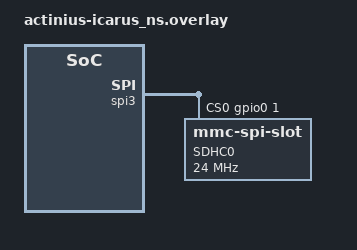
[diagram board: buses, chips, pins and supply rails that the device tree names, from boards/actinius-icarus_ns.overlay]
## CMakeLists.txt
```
#
# Copyright (c) 2019 Nordic Semiconductor
# Modified by R.Rietbroek (r.rietbroek@utwente.nl)
# SPDX-License-Identifier: LicenseRef-BSD-5-Clause-Nordic
#

cmake_minimum_required(VERSION 3.13.1)

set(ZEPHYR_EXTRA_MODULES ${CMAKE_CURRENT_SOURCE_DIR}/modules/lz4stream) 

set(DTC_OVERLAY_FILE ${CMAKE_CURRENT_SOURCE_DIR}/boards/actinius_icarus.overlay)

#uncomment the following to use the external sim
  #set(DTC_OVERLAY_FILE ${CMAKE_CURRENT_SOURCE_DIR}/boards/actinius_use_externalsim.overlay)

  #list(APPEND mcuboot_OVERLAY_CONFIG "${CMAKE_CURRENT_SOURCE_DIR}/mcuboot_overlay-rsa.conf")


find_package(Zephyr REQUIRED HINTS $ENV{ZEPHYR_BASE})
project(gnssr_logger)

zephyr_library_sources(src/main.c src/featherw_datalogger.c src/config.c src/led_buttons.c src/modem.c src/gnss.c)

zephyr_library_sources_ifdef(
  CONFIG_UPLOAD_CLIENT
  src/uploadclient.c
)

zephyr_library_sources_ifdef(
  CONFIG_SUPL_CLIENT_LIB
  src/supl_support.c
)
```

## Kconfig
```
#
# Copyright (c) 2026 Roelof Rietbroek
#
#

module = GNSSR
module-str = GNSS reflectometer

menu "GNSS-reflectometer"

config GNSS_MIN_ELEV
        int "Minimum elevation angle for GNSS satellites"
        range 0 90
        default 2
        help
          Cutoff elevation angle for GNSS satellites.

config UPLOAD_CLIENT
	bool "Enable file uploads"
        default y
        help
	  Allows uploading of data files to webdav folder
	select MODEM_KEY_MGMT 
        select AT_CMD_PARSER
        select NRF_MODEM_LIB
        select HTTP_CLIENT

config GNSSR_VERSION
	string "Set GNSS-R app version"
        default "V2.0"
        help
	  Sets app version to be printed when board info is requested

config GNSSR_CONTACT
	string "Set contact information"
        default "https://github.com/ITC-Water-Resources/actinius-gnssr"
        help
	  Sets the contact info to be printed when board info is requested

        


source "${NRF_BASE}/lib/supl/Kconfig" 

source "subsys/logging/Kconfig.template.log_config"

endmenu

menu "Zephyr Kernel"
source "Kconfig.zephyr"
endmenu
```

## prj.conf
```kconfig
#
# Copyright (c) 2019 Nordic Semiconductor ASA
#
# SPDX-License-Identifier: LicenseRef-BSD-5-Clause-Nordic
#

CONFIG_GNSSR_VERSION="V2.0"
CONFIG_GNSSR_CONTACT="ITC <r.rietbroek@utwente.nl>"

CONFIG_LOG=y

CONFIG_STDOUT_CONSOLE=y
CONFIG_UART_INTERRUPT_DRIVEN=n
CONFIG_NEWLIB_LIBC=y
CONFIG_NEWLIB_LIBC_FLOAT_PRINTF=y
#CONFIG_AT_CMD=y
#CONFIG_AT_NOTIF=y
CONFIG_BASE64=y

CONFIG_LTE_LINK_CONTROL=y
#system start up mode of the modem 
CONFIG_LTE_LC_FUNCTIONAL_MODE_MODULE=y
CONFIG_LTE_NETWORK_MODE_LTE_M_GPS=y
#alternative (use NBIOT instead of LTE)
#CONFIG_LTE_NETWORK_MODE_NBIOT_GPS=y


CONFIG_MODEM=y
CONFIG_MODEM_INFO=y
CONFIG_NRF_MODEM_LIB=y
CONFIG_MODEM_KEY_MGMT=y
#CONFIG_NRF_MODEM_LIB_LOG_LEVEL_DBG=y

# Networking
CONFIG_NETWORKING=y
CONFIG_NET_SOCKETS_OFFLOAD=y
CONFIG_NET_SOCKETS=y
CONFIG_NET_IPV4=y
CONFIG_NET_IPV6=y
CONFIG_POSIX_API=y
#CONFIG_NET_SOCKETS_SOCKOPT_TLS=y
# Disable native network stack to save some memory
CONFIG_NET_NATIVE=n



#CONFIG_NRF_SECURITY=y
#CONFIG_OBERON_BACKEND=y
#CONFIG_MBEDTLS_TLS_LIBRARY=y
#CONFIG_MBEDTLS_SSL_SESSION_TICKETS=y

CONFIG_NET_LOG=n

#CONFIG_NET_HTTP_LOG_LEVEL_DBG=y

#for debugging only
CONFIG_LOG_MODE_IMMEDIATE=n


# Main thread
CONFIG_HEAP_MEM_POOL_SIZE=16384 
#CONFIG_HEAP_MEM_POOL_SIZE=2048
CONFIG_MAIN_STACK_SIZE=4096

#SD CARD on the featherwing SETTINGS
CONFIG_GPIO=y
CONFIG_SPI=y
CONFIG_DISK_ACCESS=y
CONFIG_DISK_DRIVERS=y
CONFIG_FILE_SYSTEM=y
CONFIG_SDHC=y
CONFIG_FAT_FILESYSTEM_ELM=y
CONFIG_SPI_NRFX_RAM_BUFFER_SIZE=64
CONFIG_FS_FATFS_LFN=y

CONFIG_FS_LOG_LEVEL_DBG=n
CONFIG_DISK_LOG_LEVEL_DBG=n

#LZ4 STREAM COMPRESSION SETTINGS
CONFIG_LZ4STREAM=y

#use JSON library
CONFIG_CJSON_LIB=y

# Application (can also be selected through menuconfig)

CONFIG_BOOTLOADER_MCUBOOT=y
# SUPL client support
CONFIG_SUPL_CLIENT_LIB=n


#Enable/Disable data upload through LTE-M (cat-M1)
CONFIG_UPLOAD_CLIENT=y

#ADC for Battery voltage tracking
CONFIG_ADC=y
```

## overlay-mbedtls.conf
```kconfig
CONFIG_SAMPLE_TFM_MBEDTLS=y

#CONFIG_MODEM_KEY_MGMT=n
# TFM configuration
#CONFIG_BUILD_WITH_TFM=n
#CONFIG_TFM_MCUBOOT_IMAGE_NUMBER=1
# Currently IPC isn't supported with NCS mcuboot
#CONFIG_TFM_IPC=y

# MbedTLS and security
CONFIG_NET_SOCKETS_SOCKOPT_TLS=y
CONFIG_NET_SOCKETS_OFFLOAD_TLS=y
CONFIG_NET_NATIVE=n
CONFIG_MBEDTLS_TLS_LIBRARY=n
CONFIG_NORDIC_SECURITY_BACKEND=y
CONFIG_MBEDTLS_VANILLA_BACKEND=y
CONFIG_MBEDTLS=n

#CONFIG_OBERON_MBEDTLS_ECP_C=y
CONFIG_MBEDTLS_PEM_CERTIFICATE_FORMAT=y

CONFIG_MBEDTLS_KEY_EXCHANGE_ECDHE_RSA_ENABLED=y
CONFIG_MBEDTLS_ECP_DP_CURVE25519_ENABLED=y
CONFIG_MBEDTLS_ECP_DP_SECP256R1_ENABLED=y
CONFIG_MBEDTLS_ECP_DP_SECP224R1_ENABLED=y
CONFIG_MBEDTLS_CIPHER_GCM_ENABLED=y
CONFIG_MBEDTLS_SHA512_C=y

##CONFIG_MBEDTLS_ENABLE_HEAP=y
##CONFIG_MBEDTLS_SSL_MAX_CONTENT_LEN=4096
##CONFIG_MBEDTLS_HEAP_SIZE=32768
#CONFIG_MBEDTLS_TLS_LIBRARY=y
##CONFIG_MBEDTLS_X509_LIBRARY=y
###CONFIG_MBEDTLS_PSA_CRYPTO_C=y
##CONFIG_MBEDTLS_PKCS1_V15=y
##CONFIG_MBEDTLS_RSA_C=y
##CONFIG_MBEDTLS_SHA1_C=y
##CONFIG_MBEDTLS_SHA256_C=y
##CONFIG_MBEDTLS_SHA512_C=y
###CONFIG_MBEDTLS_LIBRARY_NRF_SECURITY=y
##CONFIG_NRF_SECURITY_ADVANCED=y

##CONFIG_MBEDTLS_AES_C=y



#CONFIG_OBERON_BACKEND=y
#CONFIG_MBEDTLS_VANILLA_BACKEND=y

##CONFIG_MBEDTLS_BUILTIN=y
##CONFIG_MBEDTLS_ENTROPY_ENABLED=y
##CONFIG_MBEDTLS_MAC_SHA256_ENABLED=y
##CONFIG_NRF_SECURITY_RNG=y
```

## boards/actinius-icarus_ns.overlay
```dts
/* 
* Set up sdhc0 element to work with a featherwing datalogger.
* Author R. Rietbroek 
*/

&spi3 {
        cs-gpios = <&gpio0 1 0>;

        sdhc0: sdhc@0 {
                compatible = "zephyr,mmc-spi-slot";
                reg = <0>;
                status = "okay";
                label = "SDHC0";
                spi-max-frequency = <24000000>;
        };
};
```

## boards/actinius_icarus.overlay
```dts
/* 
* Set up sdhc0 element to work with a featherwing datalogger.
* Author R. Rietbroek 
* Updated: Jun 2023
*/

&spi3 {
        status = "okay";
        cs-gpios = <&gpio0 1 GPIO_ACTIVE_LOW>;

        sdhc0: sdhc@0 {
                compatible = "zephyr,sdhc-spi-slot";
                reg = <0>;
                status = "okay";
                spi-max-frequency = <8000000>;
                mmc {
                        compatible = "zephyr,sdmmc-disk";
                        disk-name = "SD";
                        status = "okay";
                };
        };
};
```

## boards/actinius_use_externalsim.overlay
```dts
/* 
* Use external sim when connecting to LTE networks Author R. Rietbroek 
*see https://docs.actinius.com/icarus/datasheet#esim-and-external-sim
*/

&sim_select{
                sim = "external";
};
```

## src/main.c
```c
/*
 * Copyright (c) 2022 Roelof Rietbroek, with segments from Nordic Semiconductor zephyr sample codes
 *
 * SPDX-License-Identifier: LicenseRef-BSD-5-Clause-Nordic
 
 Roelof Rietbroek (r.rietbroek@utwente.nl)  
*/
#include <zephyr/kernel.h>
#include <nrf_modem_gnss.h>
#include <stdio.h>
#include "featherw_datalogger.h"
#include "lz4file.h"
#include "config.h"
#include "gnss.h"
#include "modem.h"
#include "led_buttons.h"

#ifdef CONFIG_UPLOAD_CLIENT
#include "uploadclient.h"
#endif 

#ifdef CONFIG_SUPL_CLIENT_LIB
#include "supl_support.h"
#endif

#include <zephyr/logging/log.h>
LOG_MODULE_REGISTER(GNSSR,CONFIG_GNSSR_LOG_LEVEL);

/*state variabless*/
static uint64_t                 log_timestamp;

/* Note: the actual message queue  and semaphore are defined in gnss.c */
extern struct k_msgq nmea_queue;
K_SEM_DEFINE(rollover_event_sem, 0, 1);



static struct k_poll_event events[2] = {
	K_POLL_EVENT_STATIC_INITIALIZER(K_POLL_TYPE_SEM_AVAILABLE,
					K_POLL_MODE_NOTIFY_ONLY,
					&rollover_event_sem, 0),
	K_POLL_EVENT_STATIC_INITIALIZER(K_POLL_TYPE_MSGQ_DATA_AVAILABLE,
					K_POLL_MODE_NOTIFY_ONLY,
					&nmea_queue, 0),
};

/* config with defaults  (instance defined in config.h)*/
extern struct config confdata;

extern char jsonbuf[JSONBUFLEN];

#ifdef CONFIG_UPLOAD_CLIENT
void sync_files(){
	if (confdata.upload == 1){
		int prev_ledstatus=get_led_status();
		set_led_status(LED_UPLOADING);
		LOG_INF("Syncing data files");
		char lz4file[50];
		char lz4fullfile[100];
		char lz4renamed[103];
		char datadir[50];
		struct fs_dir_t dirp;
		(void)get_sd_data_path(datadir,NULL);
		(void) lsdir_init(datadir, &dirp);	

		bool lte_active=false;
		
		while(lsdir_next(".lz4",&dirp,lz4file) == 0){
			if(!lte_active){
				stop_gnss();
				lte_connect();
				lte_active=true;
			}
			(void)get_sd_data_path(lz4fullfile,lz4file);
			printk("Uploading lz4file found %s\n",lz4fullfile);
			if(webdavUploadFile(lz4fullfile,&confdata) == UPLOADCLNT_SUCCESS){
				/*rename file */
				LOG_INF("Sucessfully uploaded file %s, renaming",lz4file);
				strcpy(lz4renamed,lz4fullfile);
				strcat(lz4renamed,"_ok");
				fs_rename(lz4fullfile,lz4renamed);
			}else{
				LOG_INF("cannot currently upload file %s, trying later",lz4file);
			}
		}



		(void) lsdir_close(&dirp);	


		if (lte_active){
			LOG_INF("Closing LTE link and restarting GNSS\n");
			lte_disconnect();
			k_sleep(K_MSEC(1000));
			start_gnss();
			k_sleep(K_MSEC(1000));
		}

		
		set_led_status(prev_ledstatus);
	}else{
		LOG_INF("Skipping sync due to disabled user options upload");
	}

}
#endif



/* open a new unused logging stream */
int rollover_lz4log(lz4streamfile * lz4fid){

	char filenamebase[55];
	char datestr[18];
	
	
	/* File potentially needs closing */
	if (lz4fid->isOpen){
		lz4close(lz4fid);
	}
	
	gnss_get_current_datetimestr(datestr);

	sprintf(filenamebase,"%s_%s.lz4",confdata.filebase,datestr);
			
	get_sd_data_path(lz4fid->filename, filenamebase);
	
	LOG_INF("Opening %s",lz4fid->filename);		
	
	if (lz4open(lz4fid->filename,lz4fid) != LZ4_SUCCESS){
	
		return -1;
	}
	///Write JSON header with the device status
	get_jsonstatus(jsonbuf,JSONBUFLEN);
	lz4write(lz4fid,jsonbuf);
	
	log_timestamp=k_uptime_get();

	return 0;

}





int main(void)
{

#ifdef CONFIG_ADC
	init_adc();
	LOG_INF("Initializing battery voltage monitoring\n");
#endif
	set_led_status(LED_SEARCHING);

	/* NOTE leds and button event are intialized in a separate thread */
	
	if(setup_modem() !=0){
		set_led_status(LED_ERROR);
		return -1;
	}

	print_boardinfo();
	
	LOG_INF("Mounting and initializing featherwing sdcard\n");

	if (mount_sdcard() != FEA_SUCCESS){
		set_led_status(LED_ERROR);
		return -1;
	}

	if (initialize_sdcard_files() != FEA_SUCCESS){
		set_led_status(LED_ERROR);
		return -1;
	}

	LOG_INF("Loading config data");
	/* read configuration */
	if (read_config(&confdata) != CONF_SUCCESS){
		set_led_status(LED_ERROR);
		return -1;
	}


	/*initialize device status*/
	init_device_status();

#ifdef CONFIG_UPLOAD_CLIENT
	/* register TLS certificate in the modem */
	if (confdata.webdav.usetls == 1){
		if (cert_provision(confdata.webdav.tlscert) != UPLOADCLNT_SUCCESS){
			set_led_status(LED_ERROR);
			return -1;
		}
	}
#else
	LOG_INF("App firmware does not support uploading through LTE-M, disabling\n");

#endif
	LOG_INF("Starting GNSS-R logger application\n");


	static struct lz4streamfile lz4fid ;
	init_lz4stream(&lz4fid,true);
		
	/* start and initialize gnss */

	if (init_gnss(confdata.agps) !=0){
		set_led_status(LED_ERROR);
		LOG_ERR("Cannot initialize GNSS");
		return -1;
	}
	if(start_gnss() != 0){
		set_led_status(LED_ERROR);
		LOG_ERR("Cannot start GNSS");
		return -1;
	}

	LOG_INF("Getting GNSS data...\n");
	set_led_status(LED_SEARCHING);

	struct nrf_modem_gnss_nmea_data_frame *nmea_data;
	
	/* start polling loop */
	for (;;) {
		/* wait for a nmea message, log_rollover event or pvt_fix */
		(void)k_poll(events, 2, K_FOREVER);
		
		
		
		/* Check for log rollover */
		if (events[0].state == K_POLL_STATE_SEM_AVAILABLE &&
		    k_sem_take(events[0].sem, K_NO_WAIT) == 0) {
			if(rollover_lz4log(&lz4fid) != 0){
				LOG_ERR("failed to roll over log file");
			}


#ifdef CONFIG_UPLOAD_CLIENT
			sync_files();
#endif 
			events[0].state = K_POLL_STATE_NOT_READY;
		}	
		
		
		/* Handle new NMEA data */
		if (events[1].state == K_POLL_STATE_MSGQ_DATA_AVAILABLE){
				/*only get nmea data and write it to file when the log is open and there is a position fix*/
				if(k_msgq_get(events[1].msgq, &nmea_data, K_NO_WAIT) == 0){
					if(lz4fid.isOpen && got_fix()){
						lz4write(&lz4fid,nmea_data->nmea_str);	
					}
					/*free the nmea_data to make room for a new message */
					k_free(nmea_data);
				}
			events[1].state = K_POLL_STATE_NOT_READY;

		}	

	}


	return 0;
}
```

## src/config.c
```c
/* Copyright 2023, Roelof Rietbroek (r.rietbroek@utwente.nl)
 * License: see license file
 * read and write configuration in json format
 */

#include <cJSON.h>
#include "config.h"
#include "featherw_datalogger.h"
#include "led_buttons.h"
#include <zephyr/fs/fs.h>
#include <string.h>
#include <zephyr/sys/base64.h>
#include <zephyr/logging/log.h>
LOG_MODULE_DECLARE(GNSSR,CONFIG_GNSSR_LOG_LEVEL);


#define AUTH_PREFIX "Authorization: Basic "

struct config confdata;
struct device_status dev_status;

static uint8_t hrprev=24; /*invalid hour so initial battery voltage measurement is always triggered*/

char jsonbuf[JSONBUFLEN];

void set_defaults(struct config * conf){
	strcpy(conf->filebase,"icarus_gnssr0");
	conf->upload=0;
	conf->agps=0;
	conf->psm_mode=0;
	conf->pvt_low=1;
#ifdef CONFIG_SUPL_CLIENT_LIB
	conf->agps=1;
#endif
#ifdef CONFIG_UPLOAD_CLIENT
	conf->upload=1;
	strcpy(conf->webdav.host,"httpbin.org");
	strcpy(conf->webdav.url,"/put");
	strcpy(conf->webdav.auth,"testuser:testpassword");

	conf->webdav.usetls=1;
	/* note below is the root certificate used by httpbin.org, change this for your own, and do include the line ends (you can also provide your own in the config.json file*/
	strcpy(conf->webdav.tlscert,"-----BEGIN CERTIFICATE-----$MIIDQTCCAimgAwIBAgITBmyfz5m/jAo54vB4ikPmljZbyjANBgkqhkiG9w0BAQsF$ADA5MQswCQYDVQQGEwJVUzEPMA0GA1UEChMGQW1hem9uMRkwFwYDVQQDExBBbWF6$b24gUm9vdCBDQSAxMB4XDTE1MDUyNjAwMDAwMFoXDTM4MDExNzAwMDAwMFowOTEL$MAkGA1UEBhMCVVMxDzANBgNVBAoTBkFtYXpvbjEZMBcGA1UEAxMQQW1hem9uIFJv$b3QgQ0EgMTCCASIwDQYJKoZIhvcNAQEBBQADggEPADCCAQoCggEBALJ4gHHKeNXj$ca9HgFB0fW7Y14h29Jlo91ghYPl0hAEvrAIthtOgQ3pOsqTQNroBvo3bSMgHFzZM$9O6II8c+6zf1tRn4SWiw3te5djgdYZ6k/oI2peVKVuRF4fn9tBb6dNqcmzU5L/qw$IFAGbHrQgLKm+a/sRxmPUDgH3KKHOVj4utWp+UhnMJbulHheb4mjUcAwhmahRWa6$VOujw5H5SNz/0egwLX0tdHA114gk957EWW67c4cX8jJGKLhD+rcdqsq08p8kDi1L$93FcXmn/6pUCyziKrlA4b9v7LWIbxcceVOF34GfID5yHI9Y/QCB/IIDEgEw+OyQm$jgSubJrIqg0CAwEAAaNCMEAwDwYDVR0TAQH/BAUwAwEB/zAOBgNVHQ8BAf8EBAMC$AYYwHQYDVR0OBBYEFIQYzIU07LwMlJQuCFmcx7IQTgoIMA0GCSqGSIb3DQEBCwUA$A4IBAQCY8jdaQZChGsV2USggNiMOruYou6r4lK5IpDB/G/wkjUu0yKGX9rbxenDI$U5PMCCjjmCXPI6T53iHTfIUJrU6adTrCC2qJeHZERxhlbI1Bjjt/msv0tadQ1wUs$N+gDS63pYaACbvXy8MWy7Vu33PqUXHeeE6V/Uq2V8viTO96LXFvKWlJbYK8U90vv$o/ufQJVtMVT8QtPHRh8jrdkPSHCa2XV4cdFyQzR1bldZwgJcJmApzyMZFo6IQ6XU$5MsI+yMRQ+hDKXJioaldXgjUkK642M4UwtBV8ob2xJNDd2ZhwLnoQdeXeGADbkpy$rqXRfboQnoZsG4q5WTP468SQvvG5$-----END CERTIFICATE-----$");
	


#endif

}

void replace_lineend(char * intls)
{
    char oldc='$';
    char newc='\n';
    int i = 0;

    /* Run till end of string */
    while(intls[i] != '\0')
    {
        if(intls[i] == oldc)
        {
            intls[i] = newc;
        }

        i++;
    }
}

int read_config(struct config *conf){
	char configfile[100];
	if(get_sd_config_path(configfile,"config_" CONFIG_GNSSR_VERSION ".json")!= FEA_SUCCESS){
		return CONF_ERR;
	}
	
	struct fs_file_t fid;
	fs_file_t_init(&fid);

	if (file_exists(configfile)){
		LOG_INF("Reading config from %s\n",configfile);
		/* read from file */
		if ( fs_open(&fid,configfile,FS_O_READ)!=0){
			LOG_ERR("cannot open configfile %s for reading",configfile);
			return CONF_ERR;

		}
		ssize_t buflen=fs_gets(jsonbuf,JSONBUFLEN,&fid);
		fs_close(&fid);
		/*int expected_return_code = (1 << ARRAY_SIZE(config_descr)) - 1;*/
			
		LOG_INF("buflen %d\n",buflen);

		/// Parse JSON string
		cJSON * monitor=cJSON_Parse(jsonbuf);


		if (monitor == NULL ){
			LOG_ERR("ERROR parsing JSON configuration");
			return CONF_ERR;
		}

		/// Fill config struct
		cJSON *upload= cJSON_GetObjectItemCaseSensitive(monitor, "upload");

		conf->upload=upload->valueint;
		
		cJSON *psm_mode= cJSON_GetObjectItemCaseSensitive(monitor, "psm_mode");

		conf->psm_mode=psm_mode->valueint;
		
		cJSON *pvt_low= cJSON_GetObjectItemCaseSensitive(monitor, "pvt_low");

		conf->pvt_low=pvt_low->valueint;
		
		cJSON *agps= cJSON_GetObjectItemCaseSensitive(monitor, "agps");

		conf->agps=agps->valueint;

		cJSON * filebase=cJSON_GetObjectItemCaseSensitive(monitor,"filebase");

		strcpy(conf->filebase,filebase->valuestring);
	

#ifdef CONFIG_UPLOAD_CLIENT
		/* get webdav items */
		cJSON * webdav=cJSON_GetObjectItemCaseSensitive(monitor,"webdav");
		
		cJSON * host=cJSON_GetObjectItemCaseSensitive(webdav,"host");
		strcpy(conf->webdav.host,host->valuestring);
		
		cJSON * url=cJSON_GetObjectItemCaseSensitive(webdav,"url");
		strcpy(conf->webdav.url,url->valuestring);
		

		cJSON * auth=cJSON_GetObjectItemCaseSensitive(webdav,"auth");
		size_t nwr=0;
		size_t prefixlen=strlen(AUTH_PREFIX);
		strcpy(conf->webdav.auth,AUTH_PREFIX);
		LOG_INF("%d %d %d %s\n",sizeof(conf->webdav.auth),prefixlen,strlen(auth->valuestring),auth->valuestring);
		(void)base64_encode(&conf->webdav.auth[0]+prefixlen,0,&nwr,auth->valuestring,strlen(auth->valuestring));
		LOG_INF("required base64 buffer size %d\n",nwr);
		if(base64_encode(&conf->webdav.auth[0]+prefixlen,sizeof(conf->webdav.auth)-prefixlen,&nwr,auth->valuestring,strlen(auth->valuestring)) != 0){
			LOG_ERR("ERROR in  base64 encoding of authentication");
			return CONF_ERR;
		}
		/* add a carriage return and line end */
		memcpy(&conf->webdav.auth[0]+prefixlen+nwr,"\r\n\0",3);
		/*strncat(conf->webdav.auth+nwr,"\r\n",2);*/
		printk(conf->webdav.auth);
		LOG_INF("base64 encoded Authentication header:\n%d %s\n",nwr,conf->webdav.auth);

		cJSON *usetls= cJSON_GetObjectItemCaseSensitive(webdav, "usetls");

		if (IS_ENABLED(CONFIG_NET_SOCKETS_SOCKOPT_TLS)) {
			conf->webdav.usetls=usetls->valueint;
		}else{
			/* Always force to zero if firmware does not support TLS */
			if (usetls->valueint == 1){
				LOG_WRN("DISABLING TLS as firmware does not support it");
			}
			conf->webdav.usetls=0;
		}
		
		if ( conf->webdav.usetls == 1){
			cJSON * tlscert=cJSON_GetObjectItemCaseSensitive(webdav,"tlscert");

			if (tlscert == NULL){
				LOG_ERR("ERROR TLS requested but no certificate is given");
				return CONF_ERR;
			}
			strcpy(conf->webdav.tlscert,tlscert->valuestring);
			//replace $ with line endings
			replace_lineend(conf->webdav.tlscert);
		}
#endif

		cJSON_Delete(monitor);

	}else{
		/* write defaults to file */
		LOG_INF("Writing defaults to configfile %s",configfile);
		set_defaults(conf);		
		
		cJSON * monitor = cJSON_CreateObject();
		cJSON_AddNumberToObject(monitor,"upload",conf->upload);
		cJSON_AddNumberToObject(monitor,"agps",conf->upload);
		cJSON_AddNumberToObject(monitor,"psm_mode",conf->psm_mode);
		cJSON_AddNumberToObject(monitor,"pvt_low",conf->pvt_low);
		cJSON_AddStringToObject(monitor,"filebase",conf->filebase);

#ifdef CONFIG_GNSSR_VERSION
		cJSON_AddStringToObject(monitor,"version",CONFIG_GNSSR_VERSION);
#endif

#ifdef CONFIG_GNSSR_CONTACT
		cJSON_AddStringToObject(monitor,"contact",CONFIG_GNSSR_CONTACT);
#endif

#ifdef CONFIG_UPLOAD_CLIENT
		/* add webdav items */
		cJSON * webdav= cJSON_CreateObject();

		cJSON_AddItemToObject(monitor, "webdav", webdav);
		
		cJSON_AddStringToObject(webdav,"host",conf->webdav.host);
		cJSON_AddStringToObject(webdav,"url",conf->webdav.url);
		cJSON_AddStringToObject(webdav,"auth",conf->webdav.auth);

		cJSON_AddNumberToObject(webdav,"usetls",conf->webdav.usetls);
		cJSON_AddStringToObject(webdav,"tlscert",conf->webdav.tlscert);
#endif
		/* print json to string */
		int retcode= cJSON_PrintPreallocated(monitor,jsonbuf,JSONBUFLEN,1);


		cJSON_Delete(monitor);
		if(retcode != 1){
			LOG_ERR("cannot encode in JSON");
			return CONF_ERR;
		}

		/* write to file */
		retcode= fs_open(&fid,configfile,FS_O_WRITE|FS_O_CREATE);
		if ( retcode != 0){
			LOG_ERR("cannot open configfile %s, err %d",configfile,retcode);
			return CONF_ERR;

		}
		
		fs_write(&fid,jsonbuf, strlen(jsonbuf));
		fs_close(&fid);
	}

	return CONF_SUCCESS;
}

int get_jsonstatus(char *jsonbuffer, int buflen){
		cJSON * monitor = cJSON_CreateObject();
		cJSON_AddStringToObject(monitor,"device_id",dev_status.device_id);
		cJSON_AddNumberToObject(monitor,"uptime",dev_status.uptime);
		cJSON_AddNumberToObject(monitor,"longitude",dev_status.longitude);
		cJSON_AddNumberToObject(monitor,"latitude",dev_status.latitude);
		cJSON_AddNumberToObject(monitor,"altitude",dev_status.altitude);
		cJSON * bat_array = cJSON_AddArrayToObject(monitor, "battery_mvolt");
		for (int i =0 ;i<24; i++){
			cJSON *batmvolt=cJSON_CreateNumber(dev_status.battery_mvolt[i]);
			cJSON_AddItemToArray(bat_array, batmvolt);
		}

		/*[> print json to string <]*/
		int retcode= cJSON_PrintPreallocated(monitor,jsonbuffer,buflen,1);


		cJSON_Delete(monitor);
		if(retcode != 1){
			LOG_ERR("cannot encode in JSON");
			return CONF_ERR;
		}
		//add a line end
		strcat(jsonbuffer,"\n");


		return CONF_SUCCESS;
}



int init_device_status(){
		LOG_INF("Initializing device status");
		strcpy(dev_status.device_id,confdata.filebase);
		dev_status.longitude=0.0;
		dev_status.altitude=0.0;
		dev_status.latitude=0.0;

		for(int i=0; i< 24;i++){
			dev_status.battery_mvolt[i]=9999;
		}

		return 0;

}

int update_device_status(const struct nrf_modem_gnss_pvt_data_frame *pvt) {
	///Only do this every hour 
	uint8_t hr=pvt->datetime.hour;
	if(hrprev != hr){
		LOG_INF("Updating device status");
		dev_status.longitude=pvt->longitude;
		dev_status.altitude=pvt->altitude;
		dev_status.latitude=pvt->latitude;
		dev_status.altitude=pvt->altitude;
		
#ifdef CONFIG_ADC
		get_battery_voltage(&dev_status.battery_mvolt[hr]);
		LOG_INF("Battery Voltage %d [mV]",dev_status.battery_mvolt[hr]);
#endif

		hrprev=hr;
	}
	
	///update status
	dev_status.uptime=k_uptime_get()/(MSEC_PER_SEC*3600.0);

	return 0;

}
```

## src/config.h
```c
#include <nrf_modem_gnss.h>



#define CONF_SUCCESS 0

#define CONF_ERR 1

#ifndef CONFIG_H
#define CONFIG_H

#define JSONBUFLEN 3000

#ifdef CONFIG_UPLOAD_CLIENT
struct webdav_config {
	char host[100];
	char url[100];
	char auth[120];
	int usetls;
	char tlscert[2200];

};

#endif

struct config {
	char filebase[20];
	int agps;
	int upload;
	int psm_mode;
	int pvt_low;
#ifdef CONFIG_UPLOAD_CLIENT
	struct webdav_config webdav;
#endif
};


int read_config(struct config *conf);

struct device_status {
	char device_id[20];
	float uptime;
	float longitude;
	float latitude;
	float altitude;
	uint16_t battery_mvolt[24];
};

int get_jsonstatus(char *jsonbuffer, int buflen);

int init_device_status();
int update_device_status(const struct nrf_modem_gnss_pvt_data_frame * pvt);



#endif
```

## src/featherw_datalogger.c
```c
/*
* Copyright (c) 2022 Roelof Rietbroek <r.rietbroek@utwente.nl>
*
* SPDX-License-Identifier: Apache-2.0
refactored and modified from the fat_fs zephyr example by Tavish Naruka <tavishnaruka@gmail.com>
*/

#include <zephyr/device.h>
#include <zephyr/storage/disk_access.h>
#include <zephyr/fs/fs_interface.h>
#include <string.h>
#include <ff.h>

#include "featherw_datalogger.h"
#include <zephyr/types.h>

#include <zephyr/logging/log.h>
LOG_MODULE_DECLARE(GNSSR,CONFIG_GNSSR_LOG_LEVEL);


static FATFS fat_fs;
/* mounting info */
static struct fs_mount_t mp = { 
	.type = FS_FATFS,
	.fs_data = &fat_fs,

};
static const char *disk_mount_pt = "/SD:";
static const char *sddata= "/SD:/data";
static const char *sdconfig= "/SD:/config";
static const char *sdarchive= "/SD:/archive";

/*
*  Note the fatfs library is able to mount only strings inside _VOLUME_STRS
*  in ffconf.h
*/

int mount_sdcard(void)
{
	/* raw disk i/o */
	static const char *disk_pdrv = "SD";
	uint64_t memory_size_mb;
	uint32_t block_count;
	uint32_t block_size;

	if (disk_access_init(disk_pdrv) != 0) {
		LOG_ERR("Storage init ERROR!");
		return FEA_ERR_INIT;
	}

	if (disk_access_ioctl(disk_pdrv,
			DISK_IOCTL_GET_SECTOR_COUNT, &block_count)) {
		LOG_ERR("Unable to get sector count");
		return FEA_ERR_SECCOUNT;
	}
	LOG_INF("Block count %u", block_count);

	if (disk_access_ioctl(disk_pdrv,
			DISK_IOCTL_GET_SECTOR_SIZE, &block_size)) {
		LOG_ERR("Unable to get sector size");
		return FEA_ERR_SECSIZE;
	}
	LOG_INF("Sector size %u\n", block_size);

	memory_size_mb = (uint64_t)block_count * block_size;
	LOG_INF("Memory Size(MB) %u\n", (uint32_t)(memory_size_mb >> 20));

	mp.mnt_point = disk_mount_pt;

	int res = fs_mount(&mp);

	if (res == FR_OK) {
		return FEA_SUCCESS;
	} else {
		LOG_ERR("Unable to mount SD card, error %d",res);
		return FEA_ERR_MOUNT;
	}

}

/*Retrieve a file path on a certain directory on the sdcard*/
int get_sd_path(char * outpath,const char * dir, const char * filename){
	strcpy(outpath,dir);
	if (filename != NULL){
		strcat(outpath,"/");
		strcat(outpath,filename);
	}
	return FEA_SUCCESS;
}

int get_sd_config_path(char * outpath, const char * filename){
	return get_sd_path(outpath,sdconfig, filename);
	
}

int get_sd_data_path(char * outpath, const char * filename){
	return get_sd_path(outpath,sddata, filename);
	
}

int get_sd_archive_path(char * outpath, const char * filename){
	return get_sd_path(outpath,sdarchive, filename);
	
}
/* initialize directories if they do not exist*/
int initialize_sdcard_files(void){
	char dir[100];
	
	/*initialize data directory */
	get_sd_data_path(dir,NULL);
	if (!file_exists(dir)){
		int stat=fs_mkdir(dir);	
		if (stat  != 0){
			return FEA_ERR_INIT;
		}
	}
		
	get_sd_archive_path(dir,NULL);
	if (!file_exists(dir)){
		int stat=fs_mkdir(dir);	
		if (stat  != 0){
			return FEA_ERR_INIT;
		}
	}
	
	/* also intialize config directory */
	get_sd_config_path(dir,NULL);
	if (!file_exists(dir)){
		int stat=fs_mkdir(dir);	
		if (stat  != 0){
			return FEA_ERR_INIT;
		}
	}
		
	return FEA_SUCCESS;

}



size_t file_size(const char * path){

	struct fs_dirent entry;
	if (fs_stat(path,&entry)== 0){
		return entry.size;;	
	}else{
		return 0;
	}

}

bool file_exists(const char * path){

	struct fs_dirent entry;
	if (fs_stat(path,&entry)== 0){
		return true;	
	}else{
		return false;
	}

}

/*Reads a new line from a file*/
ssize_t fs_gets(char * linebuffer,size_t bufsz,struct fs_file_t* fid){
	ssize_t nread=fs_read(fid,linebuffer,bufsz);
	if(nread < bufsz && nread >0){
		linebuffer[nread]='\0';
		return nread;
	}else if (nread == bufsz){
		/*Possibly more has been read than necessary: Find the line end*/
		char * lnend;
		if ((lnend=strchr(linebuffer,'\n')) == NULL){
			/*if((lnend=strchr(linebuffer,'\r')) == NULL){*/
				lnend=linebuffer+bufsz-1;
			/*}*/
		}
		ptrdiff_t slen=lnend-linebuffer+1;
		/*printk("slen %d\n",(int)slen);*/
		if (slen < bufsz){
			linebuffer[slen]='\0';
				off_t offs=bufsz-slen;
				/*LOG_INF("nread %d, seeking backwards with %d\n",(int)nread,(int)offs);*/
			if (fs_seek(fid,-offs,FS_SEEK_CUR) < 0){
				return -2;
			}
			return slen;
		}else{
			/*LOG_INF("returning full buffer\n");*/
			return bufsz;
		}
	}else{
		/*Errors and EOF's*/
		return -1;
	}
	
}


int lsdir_init(const char * dirpath, struct fs_dir_t * dirp){

	int res;
	/*fs_dir_t_init(dirp);*/

	/* Verify fs_opendir() */
	res = fs_opendir(dirp, dirpath);
	if (res) {
		LOG_ERR("Error opening dir %s [%d]\n", dirpath, res);
		return res;
	}
	return res;
}

int lsdir_close(struct fs_dir_t * dirp){
	return fs_closedir(dirp);
}

int lsdir_next(const char * endswith, struct fs_dir_t * dirp, char * path){

	static struct fs_dirent entry;
	int res;
	for (;;) {
		/* Verify fs_readdir() */
		res = fs_readdir(dirp, &entry);

		/*entry.name[0] == 0 means end-of-dir */
		if (res || entry.name[0] == 0) {
			break;
		}

		if (entry.type == FS_DIR_ENTRY_DIR) {
			LOG_DBG("[DIR ] %s\n", entry.name);
		} else {

			/* apply filter criteria to a file*/
			if (endswith != NULL){
				/* check filename with filter*/
				int ncmp=strlen(endswith);
				if(strcmp(entry.name+strlen(entry.name)-ncmp,endswith) != 0){
					/*no match keep going */
					continue;
				}
			} 
			
			/* construct output path filename*/
			strcpy(path,entry.name);
			return 0;/*success*/
		}
	}

	/* end of directory */
	return -1;

}
```

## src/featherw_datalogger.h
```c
/*
* Copyright (c) 2022 Roelof Rietbroek <r.rietbroek@utwente.nl>
*
* SPDX-License-Identifier: Apache-2.0
*/




#include <zephyr/fs/fs_interface.h>
#include <zephyr/fs/fs_interface.h>
#include <zephyr/fs/fs.h>
#include <sys/types.h>
#include <stdbool.h>

/* 
 * ERROR CODES
 */


#ifndef FEATHERW_H
#define FEATHERW_H

#define FEA_SUCCESS 0
#define FEA_ERR_INIT -1
#define FEA_ERR_SECCOUNT -2
#define FEA_ERR_SECSIZE -3
#define FEA_ERR_MOUNT -4


/*
 * Forward declare routines
 */


int mount_sdcard(void);
int initialize_sdcard_files(void);

int get_sd_data_path(char * outpath, const char * filename);
int get_sd_config_path(char * outpath, const char * filename);

ssize_t fs_gets(char * linebuffer,size_t bufsz,struct fs_file_t* fid);

bool file_exists(const char *path);

size_t file_size(const char *path);

int lsdir_init(const char* dirpath, struct fs_dir_t *dirp);
int lsdir_close(struct fs_dir_t * dirp);
int lsdir_next(const char * endswith, struct fs_dir_t *dirp, char* path);
#endif /* FEATHERW_H */
```

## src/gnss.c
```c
/*
* Copyright (c) 2023 Roelof Rietbroek <r.rietbroek@utwente.nl>
*
* SPDX-License-Identifier: Apache-2.0
* Refactored functions to work with GNSS parts of the modem
*/
#include <nrf_modem.h>
#include "led_buttons.h"
#include <zephyr/kernel.h>
#include "modem.h"
#include "config.h"
#include <nrf_modem_gnss.h>
#include <stdio.h>
#include <zephyr/logging/log.h>
#if defined(CONFIG_SUPL_CLIENT_LIB)
#include "supl_support.h"
#endif

LOG_MODULE_DECLARE(GNSSR,CONFIG_GNSSR_LOG_LEVEL);

static uint8_t cnt=0;
static const char update_indicator[] = {'\\', '|', '/', '-'};
static uint32_t gnss_fixed =0;
static struct nrf_modem_gnss_pvt_data_frame pvt_data;
static uint8_t last_day=0;
static uint64_t fix_timestamp;
static int agps=0;
#if defined(CONFIG_SUPL_CLIENT_LIB)
static struct nrf_modem_gnss_agps_data_frame last_agps;
#endif

extern struct config confdata;
extern struct k_sem rollover_event_sem;
K_MSGQ_DEFINE(nmea_queue, sizeof(struct nrf_modem_gnss_nmea_data_frame *), 10, 4);

uint32_t got_fix(void){
	return gnss_fixed;
}

void print_housekeeping_data(struct nrf_modem_gnss_pvt_data_frame *pvt_ptr)
{
	
	printk("---------housekeeping data-------\n");
	printf("Longitude:  %f\n", pvt_ptr->longitude);
	printf("Latitude:   %f\n", pvt_ptr->latitude);
	printf("Altitude:   %f\n", pvt_ptr->altitude);
	printf("Sigma Pos:  %f\n", pvt_ptr->accuracy);
	printf("Speed:      %f\n", pvt_ptr->speed);
	printf("Heading:    %f\n", pvt_ptr->heading);
	printk("Date:       %02u-%02u-%02u\n", pvt_ptr->datetime.day,
					       pvt_ptr->datetime.month,
					       pvt_ptr->datetime.year);
	printk("Time (UTC): %02u:%02u:%02u\n", pvt_ptr->datetime.hour,
					       pvt_ptr->datetime.minute,
					      pvt_ptr->datetime.seconds);
	printf("PDOP:           %.01f\n", pvt_ptr->pdop);
	printf("HDOP:           %.01f\n", pvt_ptr->hdop);
	printf("VDOP:           %.01f\n", pvt_ptr->vdop);
	printf("TDOP:           %.01f\n", pvt_ptr->tdop);
	printf("---------------------------------\n");
}

void print_searching(struct nrf_modem_gnss_pvt_data_frame *pvt_ptr)
{
	uint8_t  tracked          = 0;
	uint8_t  in_fix           = 0;
	uint8_t  unhealthy        = 0;

	for (int i = 0; i < NRF_MODEM_GNSS_MAX_SATELLITES; ++i) {

		if (pvt_ptr->sv[i].sv > 0)
		     {

			tracked++;

			if (pvt_ptr->sv[i].flags &
					NRF_MODEM_GNSS_SV_FLAG_USED_IN_FIX) {
				in_fix++;
			}

			if (pvt_ptr->sv[i].flags &
					NRF_MODEM_GNSS_SV_FLAG_UNHEALTHY) {
				unhealthy++;
			}
		}
	}

	printk("\033[1;1H");
	printk("\033[2J");
	printk("Tracking: %d Using: %d Unhealthy: %d\n", tracked,
							 in_fix,
							 unhealthy);
	printk("Seconds since last fix: %lld\n",
			       (k_uptime_get() - fix_timestamp) / 1000);
	if (pvt_ptr->flags & NRF_MODEM_GNSS_PVT_FLAG_DEADLINE_MISSED) {
		printk("GNSS notification deadline missed\n");
	}
	if (pvt_ptr->flags & NRF_MODEM_GNSS_PVT_FLAG_NOT_ENOUGH_WINDOW_TIME) {
		printk("GNSS operation blocked by insufficient time windows\n");
	}
	printk("Searching [%c]\n",update_indicator[(++cnt)%4]);
}

static void gnss_event_handler(int event)
{
	int retval;
	struct nrf_modem_gnss_nmea_data_frame *nmea_data;

	switch (event) {
	case NRF_MODEM_GNSS_EVT_PVT:
		retval = nrf_modem_gnss_read(&pvt_data, sizeof(pvt_data), NRF_MODEM_GNSS_DATA_PVT);
		/*check whether the PVT is from a fixed event*/

		if(pvt_data.flags & NRF_MODEM_GNSS_PVT_FLAG_FIX_VALID){
			gnss_fixed+=1;
			update_device_status(&pvt_data);
			set_led_status(LED_LOGGING);
		}else{
			gnss_fixed=0;
			set_led_status(LED_SEARCHING);
		}
		
		if (gnss_fixed == 1){
			/* print housekeeping data to screen upon obtaining a fix */
			fix_timestamp = k_uptime_get();
			print_housekeeping_data(&pvt_data);	
		}else if (gnss_fixed == 0){
			print_searching(&pvt_data);
		}
		
		/* check for day rollover */

		if(pvt_data.datetime.day != last_day){
			k_sem_give(&rollover_event_sem);

			last_day=pvt_data.datetime.day;
		}

		
		break;

	case NRF_MODEM_GNSS_EVT_NMEA:
		nmea_data = k_malloc(sizeof(struct nrf_modem_gnss_nmea_data_frame));
		if (nmea_data == NULL) {
			LOG_ERR("Failed to allocate memory for NMEA");
			break;
		}

		retval = nrf_modem_gnss_read(nmea_data,
					     sizeof(struct nrf_modem_gnss_nmea_data_frame),
					     NRF_MODEM_GNSS_DATA_NMEA);
		if (retval == 0) {
			retval = k_msgq_put(&nmea_queue, &nmea_data, K_NO_WAIT);
		}

		if (retval != 0) {
			k_free(nmea_data);
		}
		break;
#if defined(CONFIG_SUPL_CLIENT_LIB)
	case NRF_MODEM_GNSS_EVT_AGPS_REQ:
		if(agps == 0)
		{
			/*AGPS is not desired by the setting*/
			return;

		}
		if(nrf_modem_gnss_read(&last_agps,
					     sizeof(last_agps),
					     NRF_MODEM_GNSS_DATA_AGPS_REQ) != 0){
			LOG_ERR("Error retreiveing AGPS request data");
			return;
		}
		


		/* SUPL doesn't usually provide satellite real time integrity information. If GNSS asks
		 * only for satellite integrity, the request should be ignored.
		 */
		if (last_agps.sv_mask_ephe == 0 &&
		    last_agps.sv_mask_alm == 0 &&
		    last_agps.data_flags == NRF_MODEM_GNSS_AGPS_INTEGRITY_REQUEST) {
			LOG_INF("Ignoring assistance request for only satellite integrity");
			return;
		}
		
		if( lte_connect() == 0){
			if(assistance_request(&last_agps) != 0){
				LOG_ERR("Error in retrieving SUPL assisted GPS");
			}
					
			lte_disconnect();
		}else{
			LOG_ERR("SUPL failed since LTE network was not reachable");

		}

		break;
#endif /* CONFIG_SUPL_CLIENT_LIB */

	default:
		break;
	}
}

void gnss_get_current_datetimestr(char cptr[]){

	sprintf(cptr,"%04u-%02u-%02uT%02u%02u%02u",pvt_data.datetime.year,
			pvt_data.datetime.month,
			pvt_data.datetime.day,
			pvt_data.datetime.hour,
			pvt_data.datetime.minute,
			pvt_data.datetime.seconds);

}

/* init and start gnss*/
int init_gnss(int useagps)
{
	int retval;
	agps=useagps;
	if( enable_gnss_mode() != 0){

		LOG_ERR("Failed to activate GNSS mode");
		return -1;
	}
	
	/* Configure GNSS event handler */
	if (nrf_modem_gnss_event_handler_set(gnss_event_handler) != 0) {
		LOG_ERR("Failed to set GNSS event handler");
		return -1;
	}
	
	uint16_t fix_interval = 1;
	retval=nrf_modem_gnss_fix_interval_set(fix_interval);
	if (retval !=0)
	{
		LOG_ERR("cannot set GNSS fix interval");
		return retval;
	}

		
	uint16_t fix_retry    = 0;
	retval=nrf_modem_gnss_fix_retry_set(fix_retry);
	if (retval !=0)
	{
		LOG_ERR("cannot set GNSS fix retry");
		return retval;
	}



	uint16_t nmea_mask    = NRF_MODEM_GNSS_NMEA_GSV_MASK |
				NRF_MODEM_GNSS_NMEA_RMC_MASK ;

	
	retval=nrf_modem_gnss_nmea_mask_set(nmea_mask);
	if (retval !=0)
	{
		LOG_ERR("cannot set GNSS NMEA mask");
		return retval;
	}
	
	/* allow low elevation tracking */
	uint8_t gnss_lowelev = CONFIG_GNSS_MIN_ELEV;
	
	retval=nrf_modem_gnss_elevation_threshold_set(gnss_lowelev);
	if (retval !=0)
	{
		LOG_ERR("cannot set GNSS Low elevation");
		return retval;
	}

	/* This use case flag should always be set. */
	uint8_t use_case = NRF_MODEM_GNSS_USE_CASE_MULTIPLE_HOT_START;
	/*set GNSS use case */
	if (confdata.pvt_low == 1){
		use_case=NRF_MODEM_GNSS_USE_CASE_MULTIPLE_HOT_START | NRF_MODEM_GNSS_USE_CASE_LOW_ACCURACY;
		LOG_INF("Setting GNSS to low accuracy mode\n");
	}


	retval=nrf_modem_gnss_use_case_set(use_case); 
	
	if (retval !=0)
	{
		LOG_ERR("cannot set GNSS use case");
		return retval;
	}

	/*power mode setting*/

	uint8_t psm=NRF_MODEM_GNSS_PSM_DISABLED;
	switch(confdata.psm_mode){
		case 1:
			psm=NRF_MODEM_GNSS_PSM_DUTY_CYCLING_PERFORMANCE;
			LOG_INF("setting gnss power mode to *Performance*\n");
			break;
		case 2:
			/* most aggresive duty cycling*/
			psm=NRF_MODEM_GNSS_PSM_DUTY_CYCLING_POWER;
			LOG_INF("setting gnss power mode to *Power*\n");
			break;

	}
	retval=nrf_modem_gnss_power_mode_set(psm);

	if (retval !=0)
	{
		LOG_ERR("cannot set GNSS power more");
		return retval;
	}
#ifdef CONFIG_SUPL_CLIENT_LIB
	if( agps){
		LOG_INF("Initializing SUPL library\n");
		if( assistance_init() != 0){
			return -1;
		}
	}
#endif
	
	return 0;	

}

int32_t stop_gnss(void){
	int32_t retval=nrf_modem_gnss_stop();

	if (retval !=0){
		LOG_ERR("Could not stop GNSS");
	}
	return retval;
}

int32_t start_gnss(void){
	int32_t	retval=nrf_modem_gnss_start();

	if (retval !=0){
		LOG_ERR("Could not start GNSS");
	}
	return retval;
}
```

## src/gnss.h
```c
/*
* Copyright (c) 2023 Roelof Rietbroek <r.rietbroek@utwente.nl>
*
* SPDX-License-Identifier: Apache-2.0
*/

#include <stdint.h>

uint32_t got_fix(void);

void gnss_get_current_datetimestr(char cptr[]);

int32_t init_gnss(int useagps);
int32_t start_gnss(void);
int32_t stop_gnss(void);
```

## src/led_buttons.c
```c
/* LED and button stuff */
#include "led_buttons.h"
#include <zephyr/drivers/gpio.h>
#include <zephyr/kernel.h>
#include <zephyr/logging/log.h>
LOG_MODULE_DECLARE(GNSSR,CONFIG_GNSSR_LOG_LEVEL);

#define STACKSIZE 1024
#define PRIORITY 7
#define KTHREADDELAY 1000

#define GPIO_NODE 		DT_NODELABEL(gpio0)
#define BUTTON_NODE    		DT_ALIAS(sw0)

#define RED_LED_NODE		DT_ALIAS(led0)
#define GREEN_LED_NODE		DT_ALIAS(led1)
#define BLUE_LED_NODE		DT_ALIAS(led2)

#define LED_ON 1
#define LED_OFF !LED_ON

#ifdef CONFIG_ADC
/* Include adc drivers for battery voltage measurement */
#include <zephyr/drivers/adc.h>
#define BATVOLT_R1 4.7f                 // MOhm
#define BATVOLT_R2 10.0f                // MOhm
#define INPUT_VOLT_RANGE 3.6f           // Volts
#define VALUE_RANGE_10_BIT 1.023        // (2^10 - 1) / 1000

#define ADC_NODE DT_NODELABEL(adc)

#define ADC_RESOLUTION 10
#define ADC_GAIN ADC_GAIN_1_6
#define ADC_REFERENCE ADC_REF_INTERNAL
#define ADC_ACQUISITION_TIME ADC_ACQ_TIME(ADC_ACQ_TIME_MICROSECONDS, 10)
#define ADC_1ST_CHANNEL_ID 0
#define ADC_1ST_CHANNEL_INPUT SAADC_CH_PSELP_PSELP_AnalogInput0
#define BUFFER_SIZE 1
#endif 






static struct device *gpio_dev;
static struct gpio_callback gpio_cb;

static const struct gpio_dt_spec button = GPIO_DT_SPEC_GET(BUTTON_NODE, gpios);

static struct gpio_dt_spec red_led = GPIO_DT_SPEC_GET(RED_LED_NODE, gpios);
static struct gpio_dt_spec green_led = GPIO_DT_SPEC_GET(GREEN_LED_NODE, gpios);
static struct gpio_dt_spec blue_led = GPIO_DT_SPEC_GET(BLUE_LED_NODE, gpios);

static int led_status= LED_BOOTING;
extern struct k_sem rollover_event_sem;


void button_pressed_callback(const struct device *gpiob, struct gpio_callback *cb, gpio_port_pins_t pins)
{
	/* pressing the button induces a rollover_event */
	k_sem_give(&rollover_event_sem);
}

bool init_button(void)
{
	int ret = gpio_pin_configure_dt(&button, GPIO_INPUT);
	if (ret != 0) {
		LOG_ERR("Error %d: failed to configure %s pin %d\n",
				ret, button.port->name, button.pin);
		
		return false;
	}

	ret = gpio_pin_interrupt_configure_dt(&button, GPIO_INT_EDGE_TO_ACTIVE);
	if (ret != 0) {
		LOG_ERR("Error %d: failed to configure interrupt on %s pin %d\n",
			   ret, button.port->name, button.pin);

		return false;
	}

	gpio_init_callback(&gpio_cb, button_pressed_callback, BIT(button.pin));
	gpio_add_callback(button.port, &gpio_cb);

	return true;
}



void set_led_status(int status){
	/*only set it when it is something else) */
	if (led_status != status){
		led_status=status;
	}
}

int get_led_status(void){
	return led_status;
}

void turn_leds_off(void)
{
	gpio_pin_set_dt(&red_led, LED_OFF);
	gpio_pin_set_dt(&green_led, LED_OFF);
	gpio_pin_set_dt(&blue_led, LED_OFF);
}

void init_leds(void)
{
	gpio_pin_configure_dt(&red_led, GPIO_OUTPUT_INACTIVE);
	gpio_pin_configure_dt(&green_led, GPIO_OUTPUT_INACTIVE);
	gpio_pin_configure_dt(&blue_led, GPIO_OUTPUT_INACTIVE);
}


int led_button_checker(void){
	gpio_dev = DEVICE_DT_GET(GPIO_NODE);

	if (!gpio_dev) {
		LOG_ERR("Error getting GPIO device binding\r\n");

		return -1;
	}

	if (!init_button()) {
		return -1;
	}

	init_leds();


	while(1){
		switch (led_status){
		case LED_SEARCHING:
			/*blinking yellow for a second every 5 seconds*/	
			gpio_pin_set_dt(&red_led, LED_ON);
			gpio_pin_set_dt(&green_led, LED_ON);
			k_sleep(K_MSEC(1000));
			turn_leds_off();
			k_sleep(K_MSEC(4000));
			break;
		case LED_LOGGING:
			/*flash green for a 10th of a second second every 10 seconds*/	
			gpio_pin_set_dt(&green_led, LED_ON);
			k_sleep(K_MSEC(100));
			turn_leds_off();
			k_sleep(K_MSEC(14900));
			break;
		case LED_ERROR:
			/*blinking red a second every 10 seconds*/	
			gpio_pin_set_dt(&red_led, LED_ON);
			k_sleep(K_MSEC(1000));
			turn_leds_off();
			k_sleep(K_MSEC(9000));
			break;
		case LED_UPLOADING:
			/*blinking blue a second every 5 seconds*/	
			gpio_pin_set_dt(&blue_led, LED_ON);
			k_sleep(K_MSEC(1000));
			turn_leds_off();
			k_sleep(K_MSEC(4000));
			break;
		case LED_BOOTING:
			/*light up green  on of at 1 sec pulse*/	
			gpio_pin_set_dt(&green_led, LED_ON);
			k_sleep(K_MSEC(1000));
			turn_leds_off();
			k_sleep(K_MSEC(1000));
			break;
		default:
			/* shouldn't occur really, but allow sleep so this function does not spin */
			k_sleep(K_MSEC(1000));
			break;
		}

	}
	return 0;

}


/*Battery voltage measurement*/

#ifdef CONFIG_ADC
static int16_t m_sample_buffer[BUFFER_SIZE];

static const struct device *adc_dev;

static const struct adc_channel_cfg m_1st_channel_cfg = {
	.gain = ADC_GAIN,
	.reference = ADC_REFERENCE,
	.acquisition_time = ADC_ACQUISITION_TIME,
	.channel_id = ADC_1ST_CHANNEL_ID,
	.input_positive   = ADC_1ST_CHANNEL_INPUT,
};

int get_battery_voltage(uint16_t *battery_voltage)
{
	int err;

	const struct adc_sequence sequence = {
		.channels = BIT(ADC_1ST_CHANNEL_ID),
		.buffer = m_sample_buffer,
		.buffer_size = sizeof(m_sample_buffer),
		.resolution = ADC_RESOLUTION,
	};

	if (!adc_dev) {
		return -1;
	}

	err = adc_read(adc_dev, &sequence);
	if (err) {
		printk("ADC read err: %d\n", err);
		return err;
	}

	float sample_value = 0;

	for (int i = 0; i < BUFFER_SIZE; i++) {
		sample_value += (float)m_sample_buffer[i];
	}
	sample_value /= BUFFER_SIZE;

	*battery_voltage = (uint16_t)(sample_value *
		(INPUT_VOLT_RANGE / VALUE_RANGE_10_BIT) *
		((BATVOLT_R1 + BATVOLT_R2) / BATVOLT_R2));

	return 0;
}

bool init_adc(void)
{
	int err;

	adc_dev = DEVICE_DT_GET(ADC_NODE);
	if (!device_is_ready(adc_dev)) {
		printk("Error: ADC device not ready\n");
		return false;
	}

	err = adc_channel_setup(adc_dev, &m_1st_channel_cfg);
	if (err) {
		printk("Error in ADC setup: %d\n", err);
		return false;
	}

	return true;
}



#endif


K_THREAD_DEFINE(led_button_checker_id, STACKSIZE, led_button_checker, NULL, NULL, NULL, PRIORITY, 0, KTHREADDELAY);
```

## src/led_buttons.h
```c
#include <stdbool.h>
#include <stdint.h>

#define LED_ERROR 0
#define LED_SEARCHING  1
#define LED_LOGGING  2
#define LED_UPLOADING 3
#define LED_BOOTING 4


void set_led_status(int status);
int get_led_status(void);


bool init_adc(void);
int get_battery_voltage(uint16_t *battery_voltage);
```

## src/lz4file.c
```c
/*
* Copyright (c) 2022 Roelof Rietbroek <r.rietbroek@utwente.nl>
*
* SPDX-License-Identifier: Apache-2.0
*/


#include <stdlib.h>
#include <stdio.h>
#include <string.h>
#include "lz4frame_static.h"
#include <assert.h>
#include <logging/log.h>
#include "lz4file.h"
#include <fs/fs.h>
#include <fs/fs_interface.h>
/*#define LOG_ERR(x) fprintf(stderr,"%s",x)*/
LOG_MODULE_DECLARE(GNSSR);



/*
 * CHUNKSIZE (maximum size of the input src data)
*/

#define CHUNKSIZE 1024
/* buffer size determined by trial and error */
#define BUFFERSIZE 65544
/*
 * Struct holding the administrative parts of an open lz4stream
 */
typedef struct lz4streamfile {
	LZ4F_compressionContext_t ctx;
	struct fs_file_t * fid;
	size_t cap;
	char destbuf[BUFFERSIZE];
} lz4streamfile;


static const LZ4F_preferences_t kPrefs = {
    {LZ4F_max64KB, LZ4F_blockIndependent, LZ4F_noContentChecksum, LZ4F_frame,
      0 /* unknown content size */, 0 /* no dictID */ , LZ4F_noBlockChecksum },
    -1,   /* compression level; 0 == default. use -1 to avoid HC calls which use more memory*/
    0,   /* autoflush */
    0,   /* favor decompression speed */
    { 0, 0, 0 },  /* reserved, must be set to 0 */
};


int handle_lz4error(size_t errcode){

        	if (LZ4F_isError(errcode)) {
			const char * errmessage = LZ4F_getErrorName(errcode);
			LOG_ERR("Failed to create LZ4 frame header:%s",errmessage);
            		return -1;
        	}else{
			return 0;
		}

}

lz4streamfile* lz4open(const char * path){
	

	/* Dynamic allocation of buffers*/


	lz4streamfile *lz4id =malloc(sizeof(lz4streamfile)); 
	if (lz4id == NULL){
		LOG_ERR("Cannot allocate lz4 admin struct");
		return NULL;
	}
	lz4id->fid=malloc(sizeof(struct fs_file_t));
	fs_file_t_init(lz4id->fid);
	if ( fs_open(lz4id->fid,path,FS_O_WRITE|FS_O_CREATE)!=0){
		free(lz4id);
		lz4id=NULL;
		LOG_ERR("Cannot open lz4 output file");
		return NULL;
	}
	

	lz4id->cap = LZ4F_compressBound(CHUNKSIZE, &kPrefs);   /* large enough for any input <= IN_CHUNK_SIZE */
	LOG_DBG("Buffer size needed %d allocated %d\n",lz4id->cap,BUFFERSIZE);
	assert(LZ4F_HEADER_SIZE_MAX <= lz4id->cap);
	assert(lz4id->cap <= BUFFERSIZE);

	///Setup Frame header
	size_t const ctxCreation = LZ4F_createCompressionContext(&(lz4id->ctx), LZ4F_VERSION);
	
    	{
		size_t const headerSize = LZ4F_compressBegin(lz4id->ctx, lz4id->destbuf, lz4id->cap, &kPrefs);
        	if (handle_lz4error(headerSize)) {
            		return NULL;
        	}
       		
		//write the frameheader to the output file
		const size_t written=fs_write(lz4id->fid,lz4id->destbuf, headerSize);
		if (handle_lz4error(written)){
			return NULL;
		}
	}

	return lz4id;
}


int lz4write(lz4streamfile * lz4id,const char * data){
	size_t nwritten=0;
	if (data == NULL){
		///no more data-> end compression
		nwritten = LZ4F_compressEnd(lz4id->ctx,lz4id->destbuf,lz4id->cap,NULL);
		
	}else{
		const int ndata=strlen(data);
		nwritten = LZ4F_compressUpdate(lz4id->ctx,lz4id->destbuf,lz4id->cap,data,ndata,NULL);
	}
	if (handle_lz4error(nwritten)){
		return LZ4_ERR_COMPRESS;
	}
	if (nwritten > 0){
		assert(nwritten < BUFFERSIZE);
		fs_write(lz4id->fid,lz4id->destbuf,nwritten);	
	
	}

	return LZ4_SUCCESS;
}

int lz4close(lz4streamfile * lz4id){
	//possibly write pending data (this will be done by adding a NULL pointer as the data
	lz4write(lz4id,NULL);	
	fs_close(lz4id->fid);
	free(lz4id->fid);
	LZ4F_freeCompressionContext(lz4id->ctx);
	free(lz4id);
	lz4id=NULL;

	return LZ4_SUCCESS;

}



 /*TESTING MAIN function */
/*int main(){*/
	/*char * filename ="orig.lz4";*/
	/*char * inpf="./orig.txt";*/
	/*size_t bufsz=82;*/
	/*char *linebuf=NULL;*/
	/*struct lz4streamfile * lz4id=lz4open(filename);*/
	/*FILE* fin=fopen(inpf,"rt");*/


	/*int line_size = getline(&linebuf, &bufsz, fin);*/
	/*lz4write(lz4id,linebuf);*/
	  /*while (line_size >= 0)*/
	  /*{*/
		    /*line_size = getline(&linebuf, &bufsz, fin);*/
		/*if (line_size >= 0){*/
		
			/*lz4write(lz4id,linebuf);*/
		/*}*/
	/*}*/
	/*fclose(fin);*/
	/*lz4close(lz4id);*/
/*}*/
```

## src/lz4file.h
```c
/*
* Copyright (c) 2022 Roelof Rietbroek <r.rietbroek@utwente.nl>
*
* SPDX-License-Identifier: Apache-2.0
*/



#define LZ4_ERR_OVERSIZED -1
#define LZ4_SUCCESS  0;
#define LZ4_ERR_COMPRESS  -2;
typedef struct lz4streamfile lz4streamfile;

lz4streamfile * lz4open(const char *path);
int lz4write(lz4streamfile * lz4id, const char * data);
int lz4close(lz4streamfile *lz4id);
```

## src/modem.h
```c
/*
 * Copyright (c) 2023 Roelof Rietbroek, with segments from Nordic Semiconductor zephyr sample codes
 *
 * SPDX-License-Identifier: LicenseRef-BSD-5-Clause-Nordic
 
 Roelof Rietbroek (r.rietbroek@utwente.nl)  
*/
int setup_modem(void);

int lte_connect(void);
void lte_disconnect(void);

int enable_gnss_mode(void);
void print_boardinfo();
```
